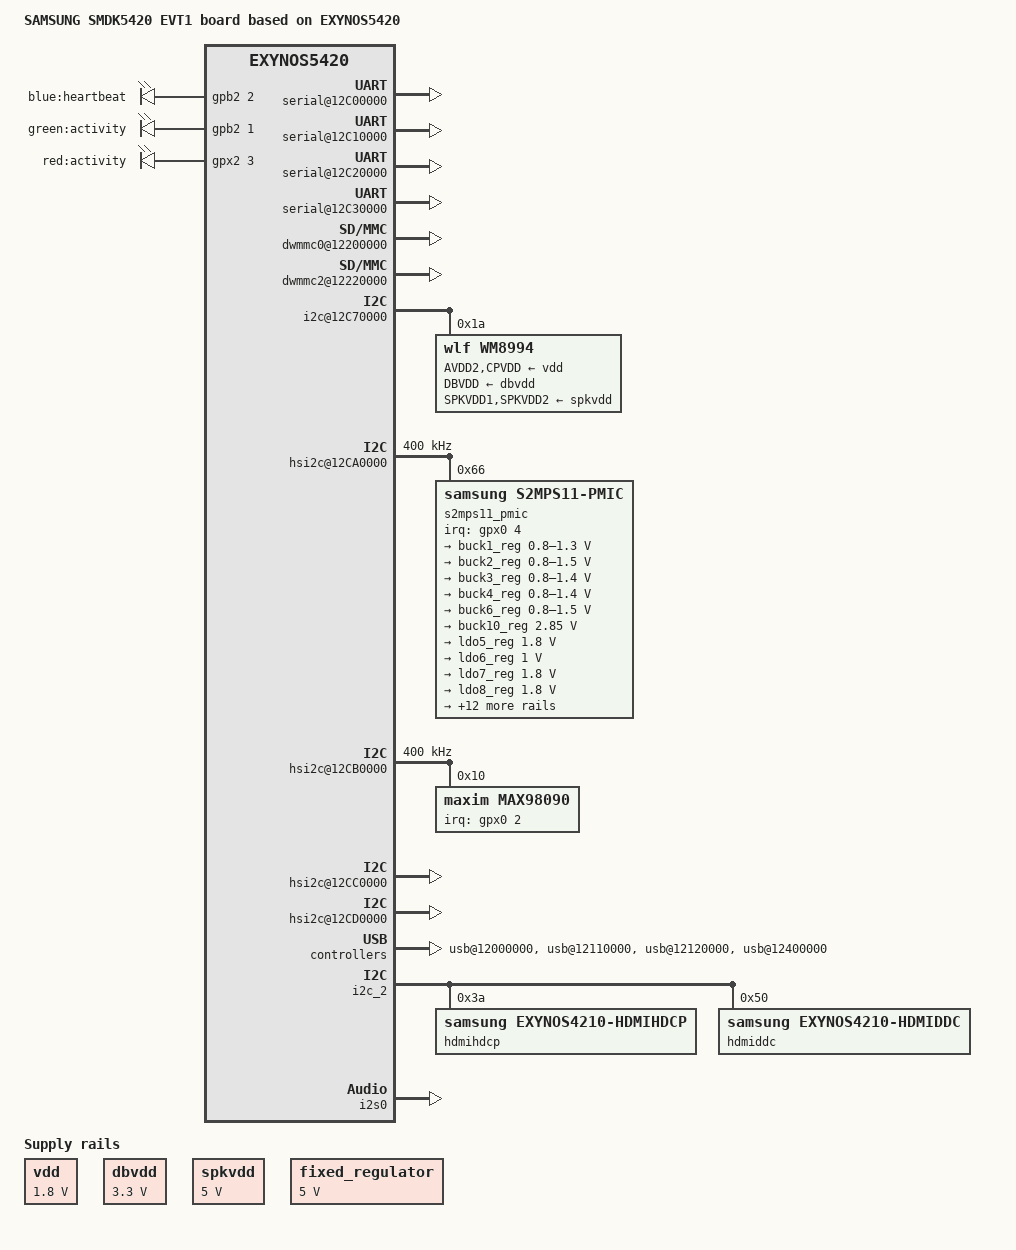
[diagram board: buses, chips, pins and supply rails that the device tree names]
/*
 * SAMSUNG SMDK5420 EVT1 board device tree source
 *
 * Copyright (c) 2013 Samsung Electronics Co., Ltd.
 *		http://www.samsung.com
 *
 * This program is free software; you can redistribute it and/or modify
 * it under the terms of the GNU General Public License version 2 as
 * published by the Free Software Foundation.
*/

/dts-v1/;
#include "exynos5420.dtsi"

/ {
	model = "SAMSUNG SMDK5420 EVT1 board based on EXYNOS5420";
	compatible = "samsung,smdk5420", "samsung,exynos5420";

	chosen {
		bootargs = "console=ttySAC3,115200";
	};

	fixed-rate-clocks {
		xxti {
			compatible = "samsung,clock-xxti";
			clock-frequency = <24000000>;
		};
	};

    pinctrl@13400000 {
        max98090_irq: max98090-irq {
            samsung,pins = "gpx0-2";
            samsung,pin-function = <0>;
            samsung,pin-pud = <0>;
            samsung,pin-drv = <0>;
        };

        dp_hpd: dp-hpd {
			samsung,pins = "gpx0-7";
			samsung,pin-function = <0>;
			samsung,pin-pud = <3>;
			samsung,pin-drv = <0>;
	    };
    };

	watchdog {
		status = "okay";
	};

	rtc {
		status = "okay";
	};

	serial@12C00000 {
		status = "okay";
	};

	serial@12C10000 {
		status = "okay";
	};

	serial@12C20000 {
		status = "okay";
	};

	serial@12C30000 {
		status = "okay";
	};

	dwmmc0@12200000 {
		status = "okay";
		num-slots = <1>;
		broken-cd;
		bypass-smu;
		supports-highspeed;
		supports-hs200-mode; /* 200 Mhz */
		fifo-depth = <0x40>;
		card-detect-delay = <200>;
        clock-frequency = <400000000>;
		samsung,dw-mshc-ciu-div = <3>;
		samsung,dw-mshc-sdr-timing = <0 4>;
		samsung,dw-mshc-ddr-timing = <0 2>;
		pinctrl-names = "default";
		pinctrl-0 = <&sd0_clk &sd0_cmd &sd0_bus4 &sd0_bus8>;

		slot@0 {
			reg = <0>;
			bus-width = <8>;
		};
	};

	dwmmc2@12220000 {
        vqmmc-supply = <&vqmmc_sdcard>;
		status = "okay";
		num-slots = <1>;
		supports-highspeed;
		fifo-depth = <0x40>;
		card-detect-delay = <200>;
        clock-frequency = <400000000>;
		samsung,dw-mshc-ciu-div = <3>;
		samsung,dw-mshc-sdr-timing = <2 3>;
		samsung,dw-mshc-ddr-timing = <1 2>;
		pinctrl-names = "default";
		pinctrl-0 = <&sd2_clk &sd2_cmd &sd2_cd &sd2_bus4>;

		slot@0 {
			reg = <0>;
			bus-width = <4>;
		};
	};

	vdd: fixed-regulator@0 {
		compatible = "regulator-fixed";
		regulator-name = "vdd-supply";
		regulator-min-microvolt = <1800000>;
		regulator-max-microvolt = <1800000>;
		regulator-always-on;
	};

	dbvdd: fixed-regulator@1 {
		compatible = "regulator-fixed";
		regulator-name = "dbvdd-supply";
		regulator-min-microvolt = <3300000>;
		regulator-max-microvolt = <3300000>;
		regulator-always-on;
	};

	spkvdd: fixed-regulator@2 {
		compatible = "regulator-fixed";
		regulator-name = "spkvdd-supply";
		regulator-min-microvolt = <5000000>;
		regulator-max-microvolt = <5000000>;
		regulator-always-on;
	};

	/* i2c1 */
	i2c@12C70000 {
		status = "okay";
		samsung,i2c-sda-delay = <100>;
		samsung,i2c-max-bus-freq = <20000>;

		wm8994: wm8994@1a {
			compatible = "wlf,wm8994";
			reg = <0x1a>;

			gpio-controller;
			#gpio-cells = <2>;

			AVDD2-supply = <&vdd>;
			CPVDD-supply = <&vdd>;
			DBVDD-supply = <&dbvdd>;
			SPKVDD1-supply = <&spkvdd>;
			SPKVDD2-supply = <&spkvdd>;
		};
	};

	/* hsi2c4 */
	hsi2c@12CA0000 {
		status = "okay";
        clock-frequency = <400000>;
		s2mps11_pmic@66 {
			compatible = "samsung,s2mps11-pmic";
            interrupt-parent = <&gpx0>;
            interrupts = <4 0>;
			reg = <0x66>;
			s2mps11,buck2-ramp-delay = <12>;
			s2mps11,buck34-ramp-delay = <12>;
			s2mps11,buck16-ramp-delay = <12>;
			s2mps11,buck6-ramp-enable = <1>;
			s2mps11,buck2-ramp-enable = <1>;
			s2mps11,buck3-ramp-enable = <1>;
			s2mps11,buck4-ramp-enable = <1>;

			regulators {
				buck1_reg: BUCK1 {
					regulator-name = "vdd_mif";
					regulator-min-microvolt = <800000>;
					regulator-max-microvolt = <1300000>;
					regulator-always-on;
					regulator-boot-on;
				};

				buck2_reg: BUCK2 {
					regulator-name = "vdd_arm";
					regulator-min-microvolt = <800000>;
					regulator-max-microvolt = <1500000>;
					regulator-always-on;
					regulator-boot-on;
				};

				buck3_reg: BUCK3 {
					regulator-name = "vdd_int";
					regulator-min-microvolt = <800000>;
					regulator-max-microvolt = <1400000>;
					regulator-always-on;
					regulator-boot-on;
                    regulator-op-mode = <2>;
				};

				buck4_reg: BUCK4 {
					regulator-name = "vdd_g3d";
					regulator-min-microvolt = <800000>;
					regulator-max-microvolt = <1400000>;
					regulator-always-on;
					regulator-boot-on;
				};

				buck6_reg: BUCK6 {
					regulator-name = "vdd_kfc";
					regulator-min-microvolt = <800000>;
					regulator-max-microvolt = <1500000>;
					regulator-always-on;
					regulator-boot-on;
				};

				buck10_reg: BUCK10 {
					regulator-name = "vdd_emmc";
					regulator-min-microvolt = <2850000>;
					regulator-max-microvolt = <2850000>;
					regulator-always-on;
					regulator-boot-on;
				};

				ldo5_reg: LDO5 {
					regulator-name = "vdd_ldo5";
					regulator-min-microvolt = <1800000>;
					regulator-max-microvolt = <1800000>;
					regulator-always-on;
				};

				ldo6_reg: LDO6 {
					regulator-name = "vdd_ldo6";
					regulator-min-microvolt = <1000000>;
					regulator-max-microvolt = <1000000>;
					regulator-always-on;
				};

				ldo7_reg: LDO7 {
					regulator-name = "vdd_ldo7";
					regulator-min-microvolt = <1800000>;
					regulator-max-microvolt = <1800000>;
					regulator-always-on;
				};

				ldo8_reg: LDO8 {
					regulator-name = "vdd_ldo8";
					regulator-min-microvolt = <1800000>;
					regulator-max-microvolt = <1800000>;
					regulator-always-on;
				};

				ldo9_reg: LDO9 {
					regulator-name = "vdd_ldo9";
					regulator-min-microvolt = <3000000>;
					regulator-max-microvolt = <3000000>;
					regulator-always-on;
				};

				ldo10_reg: LDO10 {
					regulator-name = "vdd_ldo10";
					regulator-min-microvolt = <1800000>;
					regulator-max-microvolt = <1800000>;
					regulator-always-on;
				};

				ldo11_reg: LDO11 {
					regulator-name = "vdd_ldo11";
					regulator-min-microvolt = <1000000>;
					regulator-max-microvolt = <1000000>;
					regulator-always-on;
				};

				ldo12_reg: LDO12 {
					regulator-name = "vdd_ldo12";
					regulator-min-microvolt = <1800000>;
					regulator-max-microvolt = <1800000>;
					regulator-always-on;
				};

				ldo13_reg: LDO13 {
					regulator-name = "vdd_ldo13";
					regulator-min-microvolt = <2800000>;
					regulator-max-microvolt = <2800000>;
					regulator-always-on;
				};

				ldo15_reg: LDO15 {
					regulator-name = "eth_p3v3";
					regulator-min-microvolt = <3300000>;
					regulator-max-microvolt = <3300000>;
					regulator-always-on;
				};

				ldo16_reg: LDO16 {
					regulator-name = "vdd_ldo16";
					regulator-min-microvolt = <2200000>;
					regulator-max-microvolt = <2200000>;
					regulator-always-on;
				};

				ldo17_reg: LDO17 {
					regulator-name = "eth_p3v3";
					regulator-min-microvolt = <3300000>;
					regulator-max-microvolt = <3300000>;
					regulator-always-on;
				};

                vqmmc_sdcard: ldo19_reg: LDO19 {
					regulator-name = "vdd_sd";
					regulator-min-microvolt = <1800000>;
					regulator-max-microvolt = <2800000>;
					regulator-always-on;
				};

				ldo23_reg: LDO23 {
					regulator-name = "vdd_mifs";
					regulator-min-microvolt = <900000>;
					regulator-max-microvolt = <1300000>;
				};

				ldo27_reg: LDO27 {
					regulator-name = "vdd_g3ds";
					regulator-min-microvolt = <1000000>;
					regulator-max-microvolt = <1000000>;
				};

				ldo28_reg: LDO28 {
					regulator-name = "dp_p3v3";
					regulator-min-microvolt = <3300000>;
					regulator-max-microvolt = <3300000>;
				};
			};

            s2mps11_rtc: rtc {
            };
		};
	};

	/* hsi2c5 */
	hsi2c@12CB0000 {
		status = "okay";
        clock-frequency = <400000>;

        max98090: codec@10 {
            compatible = "maxim,max98090";
            reg = <0x10>;
            interrupts = <2 0>;
            interrupt-parent = <&gpx0>;
            pinctrl-names = "default";
            pinctrl-0 = <&max98090_irq>;
        };

    };

	/* hsi2c5 */
	hsi2c@12CB0000 {
		status = "okay";
	};

	/* hsi2c6 */
	hsi2c@12CC0000 {
		status = "okay";
	};

	/* hsi2c7 */
	hsi2c@12CD0000 {
		status = "okay";
	};

	/* dw usb3_0 */
	usb@12000000 {
		status = "okay";
	};

	/* ehci */
	usb@12110000 {
		status = "okay";
	};

	/* ohci */
	usb@12120000 {
		status = "okay";
	};

	/* dw usb3_1 */
	usb@12400000 {
		status = "okay";
	};

	fimd {
		samsung,fimd-vidout-rgb;
		samsung,fimd-inv-vclk;
		samsung,default-window = <0>;
		samsung,fimd-win-bpp = <32>;
		samsung,fimd-src-clk-rate = <266000000>;
	};

	lcd_dp0: lcd_panel0 {
		lcd-htiming = <80 48 32 2560>;
		lcd-vtiming = <16 8 6 1600>;
		lcd-dimensions = <256 144>;
	};

	display-port-controller {
		samsung,dp-display = <&lcd_dp0>;
		samsung,dp-frame-rate = <60>;
		samsung,color-space = <0>;
		samsung,dynamic-range = <0>;
		samsung,ycbcr-coeff = <0>;
		samsung,color-depth = <1>;
		samsung,link-rate = <0x0a>;
		samsung,lane-count = <4>;
		samsung,hpd-gpio = <&gpx0 7 0>;
		pinctrl-names = "default";
		pinctrl-0 = <&dp_hpd>;
    };

	codec@11000000 {
		samsung,mfc-r = <0x43000000 0x800000>;
		samsung,mfc-l = <0x51000000 0x800000>;
	};

	hdmi {
		hpd-gpio = <&gpx3 7 0>;
		pinctrl-names = "default";
		pinctrl-0 = <&hdmi_hpd_irq>;
		hdmi-en-supply = <&fixed_regulator>;
		vdd-supply = <&ldo8_reg>;
		vdd_osc-supply = <&ldo10_reg>;
		vdd_pll-supply = <&ldo8_reg>;
	};

	fixed_regulator: fixedregulator@0 {
		compatible = "regulator-fixed";
		regulator-name = "hdmi-en";
		regulator-min-microvolt = <5000000>;
		regulator-max-microvolt = <5000000>;
	};

	i2c_2: i2c@12C80000 {
		samsung,i2c-sda-delay = <100>;
		samsung,i2c-max-bus-freq = <66000>;
		status = "okay";

        hdmihdcp@3a {
            compatible = "samsung,exynos4210-hdmihdcp";
            reg = <0x3a>;
        };

		hdmiddc@50 {
			compatible = "samsung,exynos4210-hdmiddc";
			reg = <0x50>;
		};
	};

	i2s0: i2s@03830000 {
		status = "okay";
	};

	sound {
		compatible = "google,daisy-audio-max98090";

		samsung,i2s-controller = <&i2s0>;
		samsung,audio-codec = <&max98090>;
        clocks = <&clock 3>, <&clock 4>, <&clock 1025>,
            <&clock 148>, <&clock_audss EXYNOS_MOUT_AUDSS>,
            <&clock_audss EXYNOS_MOUT_I2S>;
        clock-names = "fout_epll", "sclk_epll", "mout_audio0",
            "sclk_audio0", "mout_audss", "mout_i2s";
	};

    /*
     * Use longest HW watchdog in SoC (32 seconds) since the hardware
     * watchdog provides no debugging information (compared to soft/hard
     * lockup detectors) and so should be last resort.
     */
    watchdog@101D0000 {
        timeout-sec = <32>;
    };

    leds {
        compatible = "gpio-leds";
        hearbeat {
            label = "blue:heartbeat";
            gpios = <&gpb2 2 0>;
            default-state = "off";
            linux,default-trigger = "heartbeat";
        };

        eMMC {
            label = "green:activity";
            gpios = <&gpb2 1 0>;
            default-state = "off";
            linux,default-trigger = "mmc0";
        };

        microSD {
            label = "red:activity";
            gpios = <&gpx2 3 0>;
            default-state = "off";
            linux,default-trigger = "mmc1";
        };
    };
};
